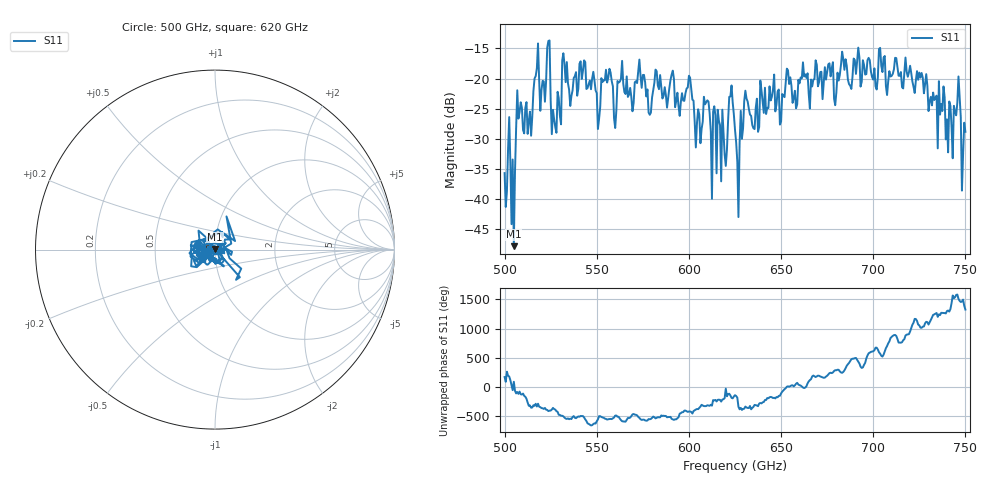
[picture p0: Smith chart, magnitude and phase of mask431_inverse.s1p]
!Created with skrf (http://scikit-rf.org).
# GHz S MA R 50.0
!freq magS11 angS11
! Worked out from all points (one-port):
!   401 points, 500 GHz to 750 GHz, reference 50 ohm
!   lowest |S11| = -47.8 dB at 505 GHz (marker M1), VSWR 1.01, Z = 50 + j0.405 ohm
!   |S11| at or under -10 dB: start of sweep to end of sweep
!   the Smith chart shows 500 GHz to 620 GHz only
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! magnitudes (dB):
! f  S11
! 500 GHz  -35.7
! 505 GHz  -47.8
! 507.5 GHz  -26.7
! 513.8 GHz  -25.5
! 516.9 GHz  -19.6
! 520.6 GHz  -20.4
! 523.8 GHz  -13.8
! 526.9 GHz  -26.8
! 531.2 GHz  -17.0
! 542.5 GHz  -18.7
! 550.6 GHz  -28.4
! 562.5 GHz  -20.5
! 593.8 GHz  -22.4
! 600 GHz  -19.5
! 605 GHz  -25.1
! 609.4 GHz  -24.0
! 618.8 GHz  -28.8
! 623.1 GHz  -21.2
! 625 GHz  -28.5
! 626.2 GHz  -33.8
! 631.2 GHz  -23.3
! 634.4 GHz  -27.7
! 656.2 GHz  -24.0
! 687.5 GHz  -21.2
! 718.8 GHz  -19.7
! 741.9 GHz  -24.5
! 746.2 GHz  -19.7
! 750 GHz  -28.9
